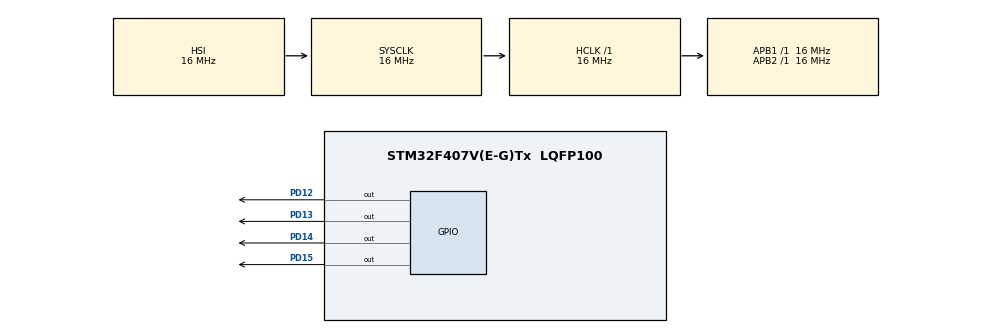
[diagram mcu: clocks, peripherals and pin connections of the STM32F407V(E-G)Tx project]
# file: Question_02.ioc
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Mcu.Family=STM32F4
Mcu.Name=STM32F407V(E-G)Tx
Mcu.Package=LQFP100
NVIC.PriorityGroup=NVIC_PRIORITYGROUP_4
PD12.Signal=GPIO_Output
PD13.Signal=GPIO_Output
PD14.Signal=GPIO_Output
PD15.Signal=GPIO_Output
ProjectManager.HeapSize=0x200
ProjectManager.StackSize=0x400
ProjectManager.TargetToolchain=STM32CubeIDE
RCC.AHBFreq_Value=16000000
RCC.APB1Freq_Value=16000000
RCC.APB2Freq_Value=16000000
RCC.CortexFreq_Value=16000000
RCC.HSE_VALUE=25000000
RCC.HSI_VALUE=16000000
RCC.LSE_VALUE=32768
RCC.SYSCLKFreq_VALUE=16000000
RCC.VCOOutputFreq_Value=192000000
TIM4.Channel-PWM\ Generation1\ No\ Output=TIM_CHANNEL_1
TIM4.Period=1000
TIM4.Prescaler=16
VP_TIM4_VS_ClockSourceINT.Mode=Internal
VP_TIM4_VS_no_output1.Mode=PWM Generation1 No Output
board=custom

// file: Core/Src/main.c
/* USER CODE BEGIN Header */
/**
  ******************************************************************************
  * @file           : main.c
  * @brief          : Main program body
  ******************************************************************************
  * @attention
  *
  * Copyright (c) 2026 STMicroelectronics.
  * All rights reserved.
  *
  * This software is licensed under terms that can be found in the LICENSE file
  * in the root directory of this software component.
  * If no LICENSE file comes with this software, it is provided AS-IS.
  *
  ******************************************************************************
  */
/* USER CODE END Header */
#include "main.h"

TIM_HandleTypeDef htim4;

/* USER CODE BEGIN PV */
uint8_t percentage = 0;
uint8_t direction = 0;
uint16_t dutyCycle = 0;
uint16_t maxValue = 999;

/* USER CODE END PV */

void SystemClock_Config(void);
static void MX_GPIO_Init(void);
static void MX_TIM4_Init(void);

/* USER CODE BEGIN 0 */
void led_handle(uint8_t percentage)
{
    HAL_GPIO_WritePin(GPIOD, GPIO_PIN_12|GPIO_PIN_13|GPIO_PIN_14|GPIO_PIN_15, GPIO_PIN_RESET);

    if(percentage >= 25 && percentage < 50)
    {
        HAL_GPIO_WritePin(GPIOD, GPIO_PIN_12, GPIO_PIN_SET);
    }
    else if(percentage >= 50 &&  percentage < 75)
    {
        HAL_GPIO_WritePin(GPIOD, GPIO_PIN_12|GPIO_PIN_13, GPIO_PIN_SET);
    }
    else if(percentage >= 75 && percentage <= 100)
    {
        HAL_GPIO_WritePin(GPIOD, GPIO_PIN_12|GPIO_PIN_13|GPIO_PIN_14|GPIO_PIN_15, GPIO_PIN_SET);
    }
}

/* USER CODE END 0 */

int main(void)
{

  /* MCU Configuration--------------------------------------------------------*/

  /* Reset of all peripherals, Initializes the Flash interface and the Systick. */
  HAL_Init();

  /* Configure the system clock */
  SystemClock_Config();

  /* Initialize all configured peripherals */
  MX_GPIO_Init();
  MX_TIM4_Init();
  /* USER CODE BEGIN 2 */
  HAL_TIM_PWM_Start(&htim4, TIM_CHANNEL_1);

  /* USER CODE END 2 */

  /* Infinite loop */
  while (1)
  {

    /* USER CODE BEGIN 3 */
	  if(direction == 0)
	  {
		dutyCycle += 5;
		if(dutyCycle >= maxValue)
		{
			dutyCycle = maxValue;
			direction = 1;
		}
	  }

	  else
	  {
		if(dutyCycle >= 5)
		{
			dutyCycle -= 5;
		}
		else
		{
			dutyCycle = 0;
			direction = 0;
		}
	  }

	  __HAL_TIM_SET_COMPARE(&htim4, TIM_CHANNEL_1, dutyCycle);

		percentage = (dutyCycle * 100) / maxValue;
		led_handle(percentage);

	    HAL_Delay(15);
  }
  /* USER CODE END 3 */
}

void SystemClock_Config(void)
{
  RCC_OscInitTypeDef RCC_OscInitStruct = {0};
  RCC_ClkInitTypeDef RCC_ClkInitStruct = {0};

  /** Configure the main internal regulator output voltage
  */
  __HAL_RCC_PWR_CLK_ENABLE();
  __HAL_PWR_VOLTAGESCALING_CONFIG(PWR_REGULATOR_VOLTAGE_SCALE1);

  /** Initializes the RCC Oscillators according to the specified parameters
  * in the RCC_OscInitTypeDef structure.
  */
  RCC_OscInitStruct.OscillatorType = RCC_OSCILLATORTYPE_HSI;
  RCC_OscInitStruct.HSIState = RCC_HSI_ON;
  RCC_OscInitStruct.HSICalibrationValue = RCC_HSICALIBRATION_DEFAULT;
  RCC_OscInitStruct.PLL.PLLState = RCC_PLL_NONE;
  if (HAL_RCC_OscConfig(&RCC_OscInitStruct) != HAL_OK)
  {
    Error_Handler();
  }

  /** Initializes the CPU, AHB and APB buses clocks
  */
  RCC_ClkInitStruct.ClockType = RCC_CLOCKTYPE_HCLK|RCC_CLOCKTYPE_SYSCLK
                              |RCC_CLOCKTYPE_PCLK1|RCC_CLOCKTYPE_PCLK2;
  RCC_ClkInitStruct.SYSCLKSource = RCC_SYSCLKSOURCE_HSI;
  RCC_ClkInitStruct.AHBCLKDivider = RCC_SYSCLK_DIV1;
  RCC_ClkInitStruct.APB1CLKDivider = RCC_HCLK_DIV1;
  RCC_ClkInitStruct.APB2CLKDivider = RCC_HCLK_DIV1;

  if (HAL_RCC_ClockConfig(&RCC_ClkInitStruct, FLASH_LATENCY_0) != HAL_OK)
  {
    Error_Handler();
  }
}

static void MX_TIM4_Init(void)
{

  TIM_ClockConfigTypeDef sClockSourceConfig = {0};
  TIM_MasterConfigTypeDef sMasterConfig = {0};
  TIM_OC_InitTypeDef sConfigOC = {0};

  htim4.Instance = TIM4;
  htim4.Init.Prescaler = 16;
  htim4.Init.CounterMode = TIM_COUNTERMODE_UP;
  htim4.Init.Period = 1000;
  htim4.Init.ClockDivision = TIM_CLOCKDIVISION_DIV1;
  htim4.Init.AutoReloadPreload = TIM_AUTORELOAD_PRELOAD_DISABLE;
  if (HAL_TIM_Base_Init(&htim4) != HAL_OK)
  {
    Error_Handler();
  }
  sClockSourceConfig.ClockSource = TIM_CLOCKSOURCE_INTERNAL;
  if (HAL_TIM_ConfigClockSource(&htim4, &sClockSourceConfig) != HAL_OK)
  {
    Error_Handler();
  }
  if (HAL_TIM_PWM_Init(&htim4) != HAL_OK)
  {
    Error_Handler();
  }
  sMasterConfig.MasterOutputTrigger = TIM_TRGO_RESET;
  sMasterConfig.MasterSlaveMode = TIM_MASTERSLAVEMODE_DISABLE;
  if (HAL_TIMEx_MasterConfigSynchronization(&htim4, &sMasterConfig) != HAL_OK)
  {
    Error_Handler();
  }
  sConfigOC.OCMode = TIM_OCMODE_PWM1;
  sConfigOC.Pulse = 0;
  sConfigOC.OCPolarity = TIM_OCPOLARITY_HIGH;
  sConfigOC.OCFastMode = TIM_OCFAST_DISABLE;
  if (HAL_TIM_PWM_ConfigChannel(&htim4, &sConfigOC, TIM_CHANNEL_1) != HAL_OK)
  {
    Error_Handler();
  }

}

static void MX_GPIO_Init(void)
{
  GPIO_InitTypeDef GPIO_InitStruct = {0};

  /* GPIO Ports Clock Enable */
  __HAL_RCC_GPIOD_CLK_ENABLE();

  /*Configure GPIO pin Output Level */
  HAL_GPIO_WritePin(GPIOD, GPIO_PIN_12|GPIO_PIN_13|GPIO_PIN_14|GPIO_PIN_15, GPIO_PIN_RESET);

  /*Configure GPIO pins : PD12 PD13 PD14 PD15 */
  GPIO_InitStruct.Pin = GPIO_PIN_12|GPIO_PIN_13|GPIO_PIN_14|GPIO_PIN_15;
  GPIO_InitStruct.Mode = GPIO_MODE_OUTPUT_PP;
  GPIO_InitStruct.Pull = GPIO_NOPULL;
  GPIO_InitStruct.Speed = GPIO_SPEED_FREQ_LOW;
  HAL_GPIO_Init(GPIOD, &GPIO_InitStruct);

}

void Error_Handler(void)
{
  __disable_irq();
  while (1)
  {
  }
}
